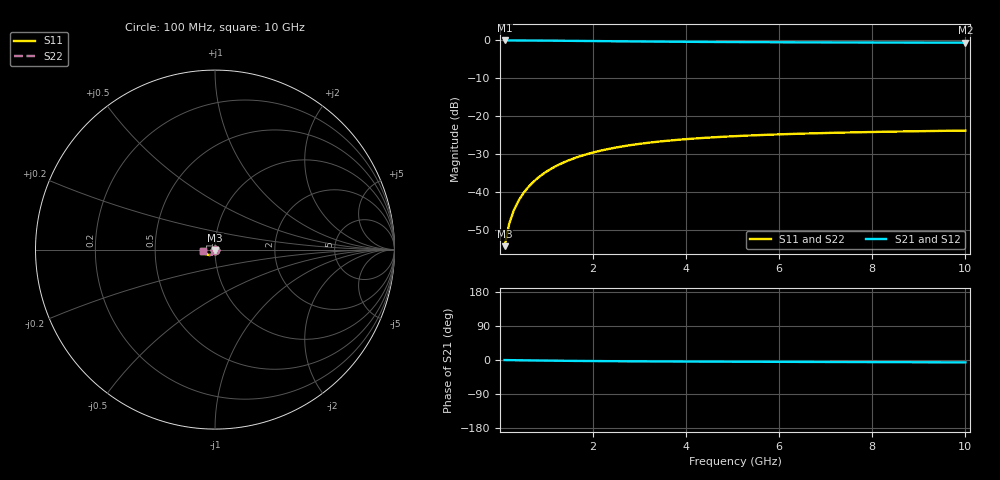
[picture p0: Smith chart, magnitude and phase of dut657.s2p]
! Touchstone file exported from HFSS 2024.1.0
!  File:  C:/UserFiles/LocalFiles/RDL_TSV_Batchsim/temp_TSV1_657_1779792766.aedt
!  Generated:  06:58:17 PM May 26, 2026
!  Design:  TSV1
!  Project:  temp_TSV1_657_1779792766
!  Setup:  Setup1
!  Solution:  Sweep
! Variables:
!  dtsv = 12.84um
!  hbump = 3um
!  htsv = 99.43um
!  lrdl = 252.1521522um
!  p = 40
!  p1 = 54.91um
!  t = 500um
!  trdl = 3um
!  wrdl = 24.89489489um
# GHz S MA R 50.000000
! Terminal data exported
! Port[1] = TSV22_T1
! Port[2] = TSV22_T2
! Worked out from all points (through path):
!   100 points, 100 MHz to 10 GHz, reference 50 ohm
!   highest |S21| = 0.00 dB at 100 MHz (marker M1); lowest = -0.6 dB at 10 GHz (marker M2)
!   lowest |S11| = -54.3 dB at 100 MHz (marker M3), VSWR 1.00, Z = 50 - j0.193 ohm
!   |S11| at or under -10 dB: start of sweep to end of sweep
!   |S22| runs from -54.3 to -23.8 dB; largest |S21 - S12| = 8.5e-15
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0.1  0.001932 -88.8  0.9998 -0.2  0.9998 -0.2  0.001932 -88.8
! Gamma 0 0 0 0
! Port Impedance 50 0 50 0
0.2  0.00386 -92.0  0.9996 -0.3  0.9996 -0.3  0.00386 -92.0
0.3  0.005785 -94.3  0.9993 -0.5  0.9993 -0.5  0.005785 -94.3
0.4  0.007699 -96.4  0.9988 -0.7  0.9988 -0.7  0.007699 -96.4
0.5  0.009594 -98.4  0.9983 -0.8  0.9983 -0.8  0.009594 -98.4
0.6  0.01147 -100.4  0.9976 -1.0  0.9976 -1.0  0.01147 -100.4
0.7  0.01331 -102.3  0.9969 -1.2  0.9969 -1.2  0.01331 -102.3
0.8  0.01511 -104.1  0.996 -1.3  0.996 -1.3  0.01511 -104.1
0.9  0.01688 -105.9  0.9951 -1.5  0.9951 -1.5  0.01688 -105.9
1.1  0.02029 -109.5  0.993 -1.7  0.993 -1.7  0.02029 -109.5
1.4  0.02505 -114.5  0.9895 -2.1  0.9895 -2.1  0.02505 -114.5
1.6  0.02798 -117.6  0.987 -2.4  0.987 -2.4  0.02798 -117.6
1.8  0.0307 -120.6  0.9844 -2.6  0.9844 -2.6  0.0307 -120.6
2.1  0.03442 -124.8  0.9805 -2.9  0.9805 -2.9  0.03442 -124.8
2.5  0.03874 -130.0  0.9754 -3.2  0.9754 -3.2  0.03874 -130.0
2.9  0.0424 -134.5  0.9706 -3.5  0.9706 -3.5  0.0424 -134.5
3.4  0.04621 -139.6  0.9652 -3.8  0.9652 -3.8  0.04621 -139.6
4.2  0.05092 -146.5  0.9579 -4.1  0.9579 -4.1  0.05092 -146.5
5.1  0.0548 -152.9  0.9515 -4.5  0.9515 -4.5  0.0548 -152.9
6.7  0.05945 -161.8  0.9435 -5.1  0.9435 -5.1  0.05945 -161.8
8.4  0.06264 -169.2  0.938 -5.7  0.938 -5.7  0.06264 -169.2
10  0.06476 -174.9  0.9345 -6.3  0.9345 -6.3  0.06476 -174.9
